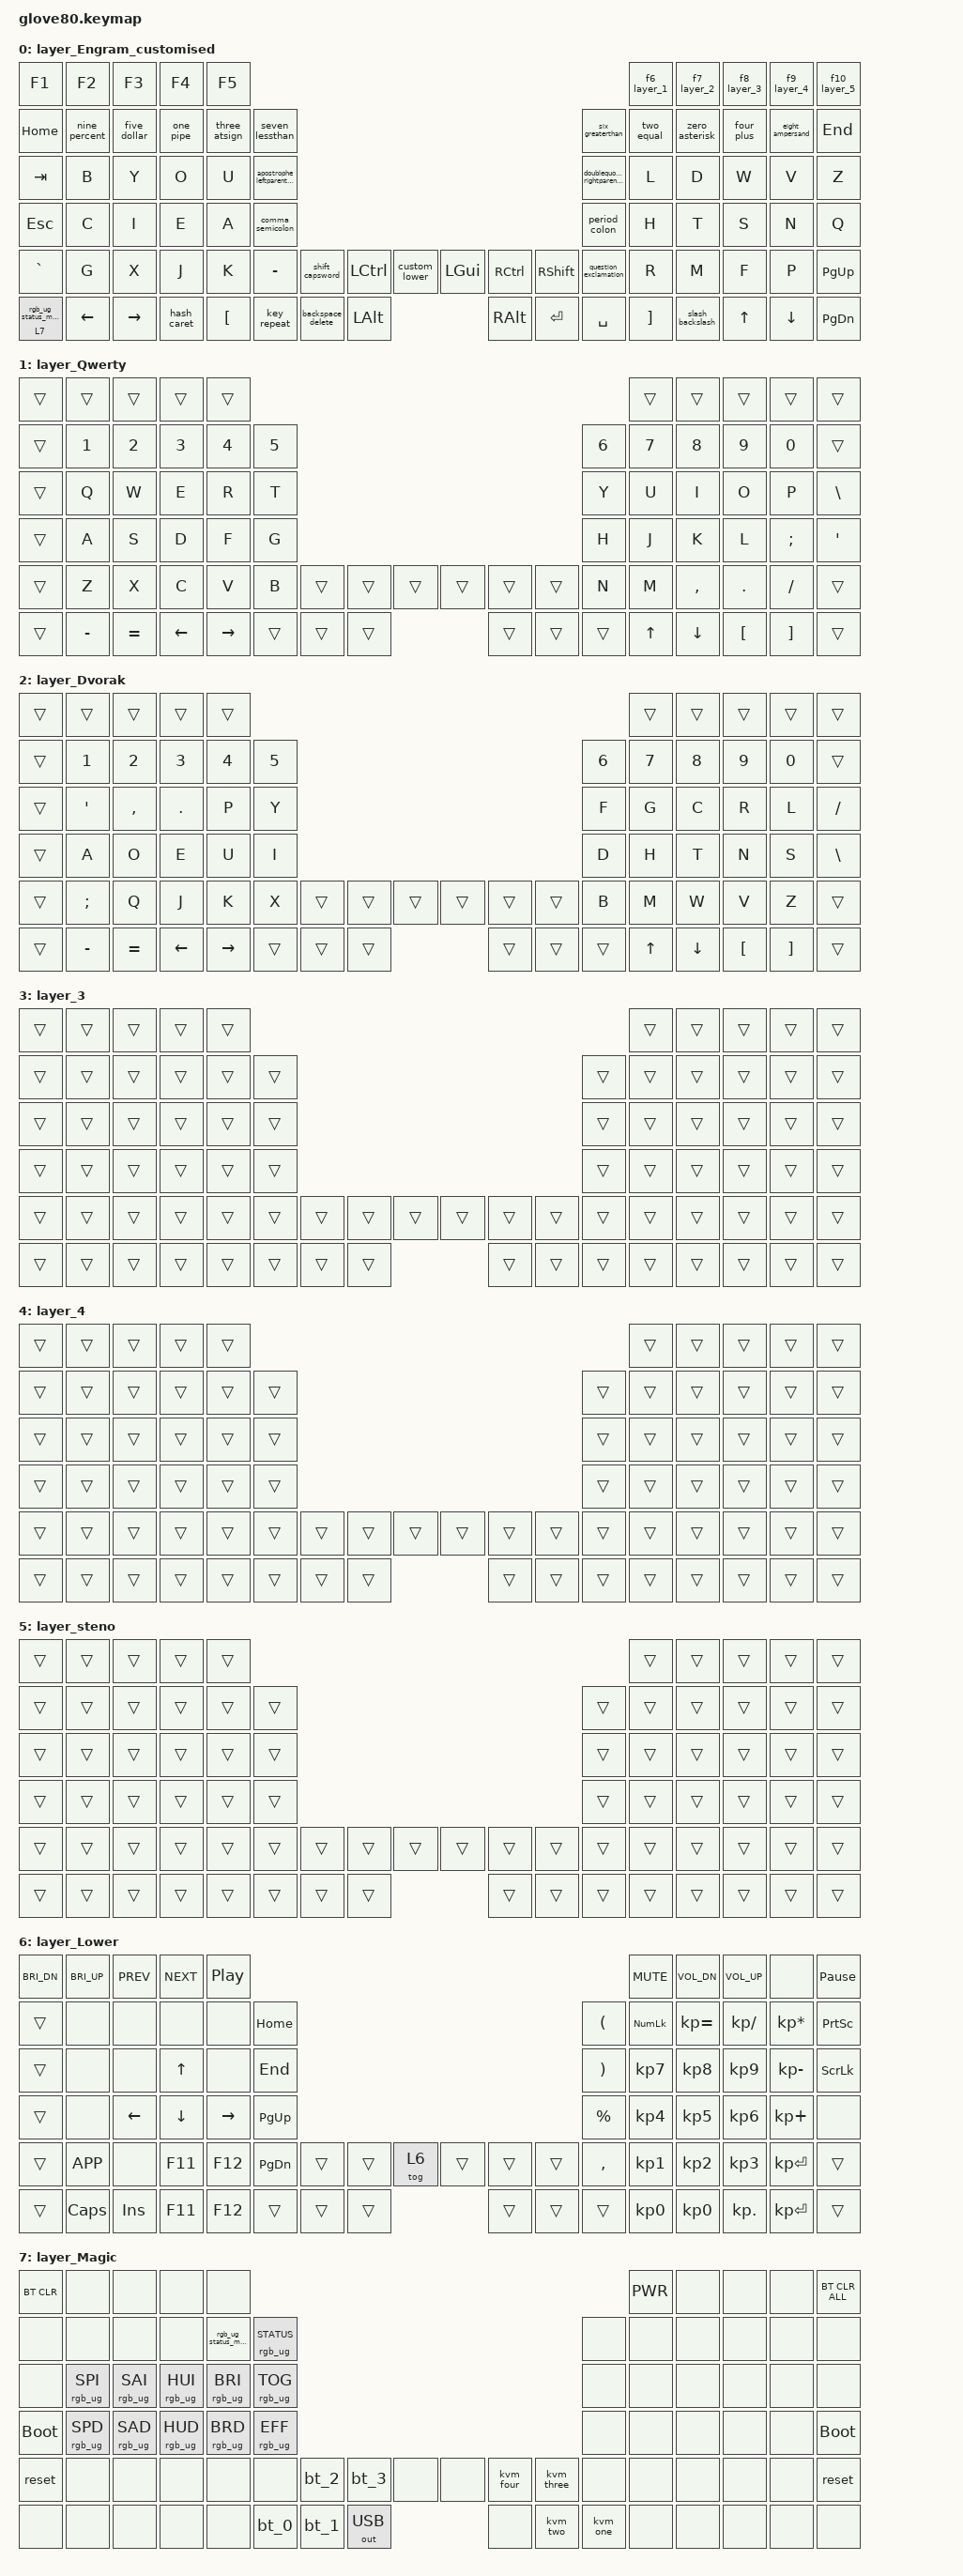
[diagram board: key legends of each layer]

/*
 * Copyright (c) 2020 The ZMK Contributors
 * Copyright (c) 2022 Innaworks Development Limited, trading as MoErgo
 *
 * SPDX-License-Identifier: MIT
 */


/* THIS FILE WAS GENERATED BY GLOVE80 LAYOUT EDITOR
 *
 * This file was generated automatically. You may or may not want to
 * edit it directly.
 */

#include <behaviors.dtsi>
/* Include all behaviour includes needed by system behaviors/macros */
#include <dt-bindings/zmk/outputs.h>

/* Include behaviour includes needed by key binds - automatically generated */
#include <dt-bindings/zmk/keys.h>
#include <dt-bindings/zmk/bt.h>
#include <dt-bindings/zmk/rgb.h>
#include <dt-bindings/zmk/outputs.h>

/* To deal with the situation where there is no Lower layer, to keep &lower happy */
#define LAYER_Lower 0

/* Automatically generated layer name #define */
#define LAYER_Engram_customised 0
#define LAYER_Qwerty 1
#define LAYER_Dvorak 2
#define LAYER_3 3
#define LAYER_4 4
#define LAYER_steno 5
#define LAYER_Lower 6
#define LAYER_Magic 7

/ {
    /* Glove80 system behavior & macros */
    behaviors {
        // For the "layer" key, it'd nice to be able to use it as either a shift or a toggle.
        // Configure it as a tap dance, so the first tap (or hold) is a &mo and the second tap is a &to
        lower: lower {
            compatible = "zmk,behavior-tap-dance";
            label = "LAYER_TAP_DANCE";
            #binding-cells = <0>;
            tapping-term-ms = <200>;
            bindings = <&mo LAYER_Lower>, <&to LAYER_Lower>;
        };
    };
};

/ {
    macros {
        rgb_ug_status_macro: rgb_ug_status_macro {
            label = "RGB_UG_STATUS";
            compatible = "zmk,behavior-macro";
            #binding-cells = <0>;
            bindings
                = <&rgb_ug RGB_STATUS>;
        };

        bt_0: bt_0 {
            label = "BT_0";
            compatible = "zmk,behavior-macro";
            #binding-cells = <0>;
            bindings
                = <&out OUT_BLE>,
                  <&bt BT_SEL 0>;
        };

        bt_1: bt_1 {
            label = "BT_1";
            compatible = "zmk,behavior-macro";
            #binding-cells = <0>;
            bindings
                = <&out OUT_BLE>,
                  <&bt BT_SEL 1>;
        };

        bt_2: bt_2 {
            label = "BT_2";
            compatible = "zmk,behavior-macro";
            #binding-cells = <0>;
            bindings
                = <&out OUT_BLE>,
                  <&bt BT_SEL 2>;
        };

        bt_3: bt_3 {
            label = "BT_3";
            compatible = "zmk,behavior-macro";
            #binding-cells = <0>;
            bindings
                = <&out OUT_BLE>,
                  <&bt BT_SEL 3>;
        };
    };
};

/ {
    magic: magic {
        compatible = "zmk,behavior-hold-tap";
        label = "MAGIC_HOLD_TAP";
        #binding-cells = <2>;
        flavor = "tap-preferred";
        tapping-term-ms = <200>;
        bindings = <&mo>, <&rgb_ug_status_macro>;
    };
};

    /* #define for key positions */
#define POS_LH_T1 52
#define POS_LH_T2 53
#define POS_LH_T3 54
#define POS_LH_T4 69
#define POS_LH_T5 70
#define POS_LH_T6 71
#define POS_LH_C1R2 15
#define POS_LH_C1R3 27
#define POS_LH_C1R4 39
#define POS_LH_C1R5 51
#define POS_LH_C2R1 4
#define POS_LH_C2R2 14
#define POS_LH_C2R3 26
#define POS_LH_C2R4 38
#define POS_LH_C2R5 50
#define POS_LH_C2R6 68
#define POS_LH_C3R1 3
#define POS_LH_C3R2 13
#define POS_LH_C3R3 25
#define POS_LH_C3R4 37
#define POS_LH_C3R5 49
#define POS_LH_C3R6 67
#define POS_LH_C4R1 2
#define POS_LH_C4R2 12
#define POS_LH_C4R3 24
#define POS_LH_C4R4 36
#define POS_LH_C4R5 48
#define POS_LH_C4R6 66
#define POS_LH_C5R1 1
#define POS_LH_C5R2 11
#define POS_LH_C5R3 23
#define POS_LH_C5R4 35
#define POS_LH_C5R5 47
#define POS_LH_C5R6 65
#define POS_LH_C6R1 0
#define POS_LH_C6R2 10
#define POS_LH_C6R3 22
#define POS_LH_C6R4 34
#define POS_LH_C6R5 46
#define POS_LH_C6R6 64
#define POS_RH_T1 57
#define POS_RH_T2 56
#define POS_RH_T3 55
#define POS_RH_T4 74
#define POS_RH_T5 73
#define POS_RH_T6 72
#define POS_RH_C1R2 16
#define POS_RH_C1R3 28
#define POS_RH_C1R4 40
#define POS_RH_C1R5 58
#define POS_RH_C2R1 5
#define POS_RH_C2R2 17
#define POS_RH_C2R3 29
#define POS_RH_C2R4 41
#define POS_RH_C2R5 59
#define POS_RH_C2R6 75
#define POS_RH_C3R1 6
#define POS_RH_C3R2 18
#define POS_RH_C3R3 30
#define POS_RH_C3R4 42
#define POS_RH_C3R5 60
#define POS_RH_C3R6 76
#define POS_RH_C4R1 7
#define POS_RH_C4R2 19
#define POS_RH_C4R3 31
#define POS_RH_C4R4 43
#define POS_RH_C4R5 61
#define POS_RH_C4R6 77
#define POS_RH_C5R1 8
#define POS_RH_C5R2 20
#define POS_RH_C5R3 32
#define POS_RH_C5R4 44
#define POS_RH_C5R5 62
#define POS_RH_C5R6 78
#define POS_RH_C6R1 9
#define POS_RH_C6R2 21
#define POS_RH_C6R3 33
#define POS_RH_C6R4 45
#define POS_RH_C6R5 63
#define POS_RH_C6R6 79

    /* Custom Defined Behaviors */
/ {
    #define QUICK_TAP_MS 0
#define TAPPING_TERM_MS 200
#define TAPPING_THUMB_TERM_MS 400
#define COMBO_TIMEOUT_MS 50
#define COMBO_TERM_FAST 14
#define COMBO_TERM_NORMAL 20
#define COMBO_TERM_SLOW 45
#define WAIT_MS 40
#define VERY_SLOW_WAIT_MS 300
#define TAP_MS 40
#define COMBO_LAYERS 0 1 2 3 4 6

#define COMBO(NAME, BINDINGS, KEYPOS, LAYERS, MS) \
  combo_##NAME { \
    bindings = <BINDINGS>; \
    key-positions = <KEYPOS>; \
    layers = <LAYERS>; \
    timeout-ms = <MS>; \
  };

combos {
    compatible = "zmk,combos";

    COMBO(cut, &kp LC(X), POS_LH_C4R4 POS_LH_C4R5, COMBO_LAYERS, COMBO_TERM_NORMAL)
    COMBO(copy, &kp LC(C), POS_LH_C3R4 POS_LH_C3R5, COMBO_LAYERS, COMBO_TERM_NORMAL)
    COMBO(paste, &kp LC(V), POS_LH_C2R4 POS_LH_C2R5, COMBO_LAYERS, COMBO_TERM_NORMAL)
    COMBO(undo, &kp LC(Z), POS_LH_C5R4 POS_LH_C5R5, COMBO_LAYERS, COMBO_TERM_NORMAL)
    COMBO(selectall, &kp LC(A), POS_LH_C5R3 POS_LH_C5R4, COMBO_LAYERS, COMBO_TERM_NORMAL)
    COMBO(capslock, &kp CAPS, POS_LH_T1 POS_RH_T1, COMBO_LAYERS, COMBO_TERM_SLOW)
    COMBO(home, &kp HOME, POS_LH_C4R6 POS_LH_C3R6, COMBO_LAYERS, COMBO_TERM_NORMAL)
    COMBO(pageup, &kp PAGE_UP, POS_LH_C3R6 POS_LH_C2R6, COMBO_LAYERS, COMBO_TERM_NORMAL)
    COMBO(space, &kp SPACE, POS_LH_T4 POS_LH_T5, COMBO_LAYERS, COMBO_TERM_NORMAL)
    COMBO(delete, &kp DELETE, POS_LH_T5 POS_LH_T6, COMBO_LAYERS, COMBO_TERM_NORMAL)
    COMBO(backspace, &kp BACKSPACE, POS_RH_T5 POS_RH_T4, COMBO_LAYERS, COMBO_TERM_NORMAL)
    COMBO(pagedown, &kp PAGE_DOWN, POS_RH_C2R6 POS_RH_C3R6, COMBO_LAYERS, COMBO_TERM_NORMAL)
    COMBO(end, &kp END, POS_RH_C3R6 POS_RH_C4R6, COMBO_LAYERS, COMBO_TERM_NORMAL)
    COMBO(printscreen, &kp PRINTSCREEN, POS_RH_C5R2 POS_RH_C5R3, COMBO_LAYERS, COMBO_TERM_NORMAL)
    COMBO(gmailmoveto, &gmailmoveto, POS_RH_C6R4 POS_RH_C6R5, COMBO_LAYERS, COMBO_TERM_NORMAL)
};

macros {
    kvm_one: kvm_one{
        label = "kvm_one";
        compatible = "zmk,behavior-macro";
        #binding-cells = <0>;
        wait-ms = <VERY_SLOW_WAIT_MS>;
        tap-ms = <TAP_MS>;
        bindings = <&kp RCTRL &kp RCTRL &kp N1>;
    };
    kvm_two: kvm_two{
        label = "kvm_two";
        compatible = "zmk,behavior-macro";
        #binding-cells = <0>;
        wait-ms = <VERY_SLOW_WAIT_MS>;
        tap-ms = <TAP_MS>;
        bindings = <&kp RCTRL &kp RCTRL &kp N2>;
    };
    kvm_three: kvm_three{
        label = "kvm_three";
        compatible = "zmk,behavior-macro";
        #binding-cells = <0>;
        wait-ms = <VERY_SLOW_WAIT_MS>;
        tap-ms = <TAP_MS>;
        bindings = <&kp RCTRL &kp RCTRL &kp N3>;
    };
    kvm_four: kvm_four{
        label = "kvm_four";
        compatible = "zmk,behavior-macro";
        #binding-cells = <0>;
        wait-ms = <VERY_SLOW_WAIT_MS>;
        tap-ms = <TAP_MS>;
        bindings = <&kp RCTRL &kp RCTRL &kp N4>;
    };
    gmailmoveto: gmailmoveto{
        label = "gmailmoveto";
        compatible = "zmk,behavior-macro";
        #binding-cells = <0>;
        wait-ms = <VERY_SLOW_WAIT_MS>;
        tap-ms = <TAP_MS>;
        bindings = <&kp V &kp S &kp ENTER>;
    };
    tog_ug_1: tog_ug_1 {
        label = "tog_ug_1";
        compatible = "zmk,behavior-macro";
        #binding-cells = <0>;
        wait-ms = <WAIT_MS>;
        tap-ms = <TAP_MS>;
        bindings = <&tog 1>, <&rgb_ug_status_macro>;
    };
    tog_ug_2: tog_ug_2 {
        label = "tog_ug_2";
        compatible = "zmk,behavior-macro";
        #binding-cells = <0>;
        wait-ms = <WAIT_MS>;
        tap-ms = <TAP_MS>;
        bindings = <&tog 2>, <&rgb_ug_status_macro>;
    };
    tog_ug_3: tog_ug_3 {
        label = "tog_ug_3";
        compatible = "zmk,behavior-macro";
        #binding-cells = <0>;
        wait-ms = <WAIT_MS>;
        tap-ms = <TAP_MS>;
        bindings = <&tog 3>, <&rgb_ug_status_macro>;
    };
    tog_ug_4: tog_ug_4 {
        label = "tog_ug_4";
        compatible = "zmk,behavior-macro";
        #binding-cells = <0>;
        wait-ms = <WAIT_MS>;
        tap-ms = <TAP_MS>;
        bindings = <&tog 4>, <&rgb_ug_status_macro>;
    };
    tog_ug_5: tog_ug_5 {
        label = "tog_ug_5";
        compatible = "zmk,behavior-macro";
        #binding-cells = <0>;
        wait-ms = <WAIT_MS>;
        tap-ms = <TAP_MS>;
        bindings = <&tog 5>, <&rgb_ug_status_macro>;
    };
};

behaviors {
    ht: hold_tap {
        compatible = "zmk,behavior-hold-tap";
        label = "HOLD_TAP";
        #binding-cells = <2>;
        flavor = "tap-preferred";
        tapping-term-ms = <TAPPING_TERM_MS>;
        quick-tap-ms = <QUICK_TAP_MS>;
        bindings = <&kp>, <&kp>;
    };
    shift_capsword: td_shift_capsword {
        compatible = "zmk,behavior-tap-dance";
        label = "SHIFT_CAPSWORD";
        #binding-cells = <0>;
        tapping-term-ms = <TAPPING_THUMB_TERM_MS>;
        bindings = <&kp LSHFT>, <&caps_word>;
    };
    f6_layer_1: td_f6_layer_1 {
        compatible = "zmk,behavior-tap-dance";
        label = "F6_LAYER_1";
        #binding-cells = <0>;
        tapping-term-ms = <TAPPING_TERM_MS>;
        bindings = <&kp F6>, <&tog_ug_1>;
    };
    f7_layer_2: td_f7_layer_2 {
        compatible = "zmk,behavior-tap-dance";
        label = "F7_LAYER_2";
        #binding-cells = <0>;
        tapping-term-ms = <TAPPING_TERM_MS>;
        bindings = <&kp F7>, <&tog_ug_2>;
    };
    f8_layer_3: td_f8_layer_3 {
        compatible = "zmk,behavior-tap-dance";
        label = "F8_LAYER_3";
        #binding-cells = <0>;
        tapping-term-ms = <TAPPING_TERM_MS>;
        bindings = <&kp F8>, <&tog_ug_3>;
    };
    f9_layer_4: td_f9_layer_4 {
        compatible = "zmk,behavior-tap-dance";
        label = "F9_LAYER_4";
        #binding-cells = <0>;
        tapping-term-ms = <TAPPING_TERM_MS>;
        bindings = <&kp F9>, <&tog_ug_4>;
    };
    f10_layer_5: td_f10_layer_5 {
        compatible = "zmk,behavior-tap-dance";
        label = "F10_LAYER_5";
        #binding-cells = <0>;
        tapping-term-ms = <TAPPING_TERM_MS>;
        bindings = <&kp F10>, <&tog_ug_5>;
    };
    custom_lower: tap_dance_1 {
        compatible = "zmk,behavior-tap-dance";
        label = "CUSTOM_LAYER_TAP_DANCE";
        #binding-cells = <0>;
        tapping-term-ms = <TAPPING_TERM_MS>;
        bindings = <&mo 6>, <&tog 6>;
    };
    apostrophe_leftparenthesis: apostrophe_leftparenthesis {
        compatible = "zmk,behavior-mod-morph";
        label = "apostrophe_leftparenthesis";
        #binding-cells = <0>;
        bindings = <&kp APOSTROPHE>, <&kp LEFT_PARENTHESIS>;
        mods = <(MOD_LSFT|MOD_RSFT)>;
    };
    doublequotes_rightparenthesis: doublequotes_rightparenthesis{
        compatible = "zmk,behavior-mod-morph";
        label = "doublequotes_rightparenthesis";
        #binding-cells = <0>;
        bindings = <&kp DOUBLE_QUOTES>, <&kp RIGHT_PARENTHESIS>;
        mods = <(MOD_LSFT|MOD_RSFT)>;
    };
    comma_semicolon: comma_semicolon {
        compatible = "zmk,behavior-mod-morph";
        label = "comma_semicolon";
        #binding-cells = <0>;
        bindings = <&kp COMMA>, <&kp SEMICOLON>;
        mods = <(MOD_LSFT|MOD_RSFT)>;
    };
    period_colon: period_colon {
        compatible = "zmk,behavior-mod-morph";
        label = "period_colon";
        #binding-cells = <0>;
        bindings = <&kp PERIOD>, <&kp COLON>;
        mods = <(MOD_LSFT|MOD_RSFT)>;
    };
    question_exclamation: question_exclamation {
        compatible = "zmk,behavior-mod-morph";
        label = "question_exclamation";
        #binding-cells = <0>;
        bindings = <&kp QUESTION>, <&kp EXCLAMATION>;
        mods = <(MOD_LSFT|MOD_RSFT)>;
    };
    one_pipe: one_pipe {
        compatible = "zmk,behavior-mod-morph";
        label = "one_pipe";
        #binding-cells = <0>;
        bindings = <&kp N1>, <&kp PIPE>;
        mods = <(MOD_LSFT|MOD_RSFT)>;
    };
    two_equal: two_equal {
        compatible = "zmk,behavior-mod-morph";
        label = "two_equal";
        #binding-cells = <0>;
        bindings = <&kp N2>, <&kp EQUAL>;
        mods = <(MOD_LSFT|MOD_RSFT)>;
    };
    three_atsign: three_atsign {
        compatible = "zmk,behavior-mod-morph";
        label = "three_atsign";
        #binding-cells = <0>;
        bindings = <&kp N3>, <&kp AT_SIGN>;
        mods = <(MOD_LSFT|MOD_RSFT)>;
    };
    four_plus: four_plus {
        compatible = "zmk,behavior-mod-morph";
        label = "four_plus";
        #binding-cells = <0>;
        bindings = <&kp N4>, <&kp PLUS>;
        mods = <(MOD_LSFT|MOD_RSFT)>;
    };
    five_dollar: five_dollar {
        compatible = "zmk,behavior-mod-morph";
        label = "five_dollar";
        #binding-cells = <0>;
        bindings = <&kp N5>, <&kp DOLLAR>;
        mods = <(MOD_LSFT|MOD_RSFT)>;
    };
    six_greaterthan: six_greaterthan {
        compatible = "zmk,behavior-mod-morph";
        label = "six_greaterthan";
        #binding-cells = <0>;
        bindings = <&kp N6>, <&kp GREATER_THAN>;
        mods = <(MOD_LSFT|MOD_RSFT)>;
    };
    seven_lessthan: seven_lessthan {
        compatible = "zmk,behavior-mod-morph";
        label = "seven_lessthan";
        #binding-cells = <0>;
        bindings = <&kp N7>, <&kp LESS_THAN>;
        mods = <(MOD_LSFT|MOD_RSFT)>;
    };
    eight_ampersand: eight_ampersand {
        compatible = "zmk,behavior-mod-morph";
        label = "eight_ampersand";
        #binding-cells = <0>;
        bindings = <&kp N8>, <&kp AMPERSAND>;
        mods = <(MOD_LSFT|MOD_RSFT)>;
    };
    nine_percent: nine_percent {
        compatible = "zmk,behavior-mod-morph";
        label = "nine_percent";
        #binding-cells = <0>;
        bindings = <&kp N9>, <&kp PERCENT>;
        mods = <(MOD_LSFT|MOD_RSFT)>;
    };
    zero_asterisk: zero_asterisk {
        compatible = "zmk,behavior-mod-morph";
        label = "zero_asterisk";
        #binding-cells = <0>;
        bindings = <&kp N0>, <&kp ASTERISK>;
        mods = <(MOD_LSFT|MOD_RSFT)>;
    };
    hash_caret: hash_caret {
        compatible = "zmk,behavior-mod-morph";
        label = "hash_caret";
        #binding-cells = <0>;
        bindings = <&kp HASH>, <&kp CARET>;
        mods = <(MOD_LSFT|MOD_RSFT)>;
    };
    slash_backslash: slash_backslash {
        compatible = "zmk,behavior-mod-morph";
        label = "slash_backslash";
        #binding-cells = <0>;
        bindings = <&kp SLASH>, <&kp BACKSLASH>;
        mods = <(MOD_LSFT|MOD_RSFT)>;
    };
    backspace_delete: backspace_delete {
        compatible = "zmk,behavior-mod-morph";
        label = "backspace_delete";
        #binding-cells = <0>;
        bindings = <&kp BACKSPACE>, <&kp LS(DELETE)>;
        mods = <(MOD_LSFT|MOD_RSFT)>;
    };
};

};

    /* Automatically generated keymap */
/ {
    keymap {
        compatible = "zmk,keymap";


        layer_Engram_customised {
            bindings = <
     &kp F1         &kp F2        &kp F3       &kp F4         &kp F5                                                                                                                                                  &f6_layer_1       &f7_layer_2  &f8_layer_3       &f9_layer_4  &f10_layer_5
   &kp HOME  &nine_percent  &five_dollar    &one_pipe  &three_atsign              &seven_lessthan                                                                                                   &six_greaterthan   &two_equal    &zero_asterisk   &four_plus  &eight_ampersand       &kp END
    &kp TAB          &kp B         &kp Y        &kp O          &kp U  &apostrophe_leftparenthesis                                                                                     &doublequotes_rightparenthesis        &kp L             &kp D        &kp W             &kp V         &kp Z
    &kp ESC          &kp C         &kp I        &kp E          &kp A             &comma_semicolon                                                                                                      &period_colon        &kp H             &kp T        &kp S             &kp N         &kp Q
  &kp GRAVE          &kp G         &kp X        &kp J          &kp K                    &kp MINUS  &shift_capsword          &kp LCTRL  &custom_lower  &kp LGUI  &kp RCTRL  &kp RSHFT           &question_exclamation        &kp R             &kp M        &kp F             &kp P     &kp PG_UP
 &magic 7 0       &kp LEFT     &kp RIGHT  &hash_caret       &kp LBKT                                   &key_repeat  &backspace_delete       &kp LALT  &kp RALT    &kp RET  &kp SPACE                                     &kp RBKT  &slash_backslash       &kp UP          &kp DOWN     &kp PG_DN
            >;
        };

        layer_Qwerty {
            bindings = <
 &trans     &trans     &trans    &trans     &trans                                                                  &trans     &trans    &trans    &trans    &trans
 &trans     &kp N1     &kp N2    &kp N3     &kp N4  &kp N5                                                  &kp N6  &kp N7     &kp N8    &kp N9    &kp N0    &trans
 &trans      &kp Q      &kp W     &kp E      &kp R   &kp T                                                   &kp Y   &kp U      &kp I     &kp O     &kp P  &kp BSLH
 &trans      &kp A      &kp S     &kp D      &kp F   &kp G                                                   &kp H   &kp J      &kp K     &kp L  &kp SEMI   &kp SQT
 &trans      &kp Z      &kp X     &kp C      &kp V   &kp B  &trans  &trans  &trans  &trans  &trans  &trans   &kp N   &kp M  &kp COMMA   &kp DOT  &kp FSLH    &trans
 &trans  &kp MINUS  &kp EQUAL  &kp LEFT  &kp RIGHT          &trans  &trans  &trans  &trans  &trans  &trans          &kp UP   &kp DOWN  &kp LBKT  &kp RBKT    &trans
            >;
        };

        layer_Dvorak {
            bindings = <
 &trans     &trans     &trans    &trans     &trans                                                                  &trans    &trans    &trans    &trans    &trans
 &trans     &kp N1     &kp N2    &kp N3     &kp N4  &kp N5                                                  &kp N6  &kp N7    &kp N8    &kp N9    &kp N0    &trans
 &trans    &kp SQT  &kp COMMA   &kp DOT      &kp P   &kp Y                                                   &kp F   &kp G     &kp C     &kp R     &kp L  &kp FSLH
 &trans      &kp A      &kp O     &kp E      &kp U   &kp I                                                   &kp D   &kp H     &kp T     &kp N     &kp S  &kp BSLH
 &trans   &kp SEMI      &kp Q     &kp J      &kp K   &kp X  &trans  &trans  &trans  &trans  &trans  &trans   &kp B   &kp M     &kp W     &kp V     &kp Z    &trans
 &trans  &kp MINUS  &kp EQUAL  &kp LEFT  &kp RIGHT          &trans  &trans  &trans  &trans  &trans  &trans          &kp UP  &kp DOWN  &kp LBKT  &kp RBKT    &trans
            >;
        };

        layer_3 {
            bindings = <
 &trans  &trans  &trans  &trans  &trans                                                                  &trans  &trans  &trans  &trans  &trans
 &trans  &trans  &trans  &trans  &trans  &trans                                                  &trans  &trans  &trans  &trans  &trans  &trans
 &trans  &trans  &trans  &trans  &trans  &trans                                                  &trans  &trans  &trans  &trans  &trans  &trans
 &trans  &trans  &trans  &trans  &trans  &trans                                                  &trans  &trans  &trans  &trans  &trans  &trans
 &trans  &trans  &trans  &trans  &trans  &trans  &trans  &trans  &trans  &trans  &trans  &trans  &trans  &trans  &trans  &trans  &trans  &trans
 &trans  &trans  &trans  &trans  &trans          &trans  &trans  &trans  &trans  &trans  &trans          &trans  &trans  &trans  &trans  &trans
            >;
        };

        layer_4 {
            bindings = <
 &trans  &trans  &trans  &trans  &trans                                                                  &trans  &trans  &trans  &trans  &trans
 &trans  &trans  &trans  &trans  &trans  &trans                                                  &trans  &trans  &trans  &trans  &trans  &trans
 &trans  &trans  &trans  &trans  &trans  &trans                                                  &trans  &trans  &trans  &trans  &trans  &trans
 &trans  &trans  &trans  &trans  &trans  &trans                                                  &trans  &trans  &trans  &trans  &trans  &trans
 &trans  &trans  &trans  &trans  &trans  &trans  &trans  &trans  &trans  &trans  &trans  &trans  &trans  &trans  &trans  &trans  &trans  &trans
 &trans  &trans  &trans  &trans  &trans          &trans  &trans  &trans  &trans  &trans  &trans          &trans  &trans  &trans  &trans  &trans
            >;
        };

        layer_steno {
            bindings = <
 &trans  &trans  &trans  &trans  &trans                                                                  &trans  &trans  &trans  &trans  &trans
 &trans  &trans  &trans  &trans  &trans  &trans                                                  &trans  &trans  &trans  &trans  &trans  &trans
 &trans  &trans  &trans  &trans  &trans  &trans                                                  &trans  &trans  &trans  &trans  &trans  &trans
 &trans  &trans  &trans  &trans  &trans  &trans                                                  &trans  &trans  &trans  &trans  &trans  &trans
 &trans  &trans  &trans  &trans  &trans  &trans  &trans  &trans  &trans  &trans  &trans  &trans  &trans  &trans  &trans  &trans  &trans  &trans
 &trans  &trans  &trans  &trans  &trans          &trans  &trans  &trans  &trans  &trans  &trans          &trans  &trans  &trans  &trans  &trans
            >;
        };

        layer_Lower {
            bindings = <
 &kp C_BRI_DN  &kp C_BRI_UP  &kp C_PREV  &kp C_NEXT   &kp C_PP                                                                        &kp C_MUTE  &kp C_VOL_DN  &kp C_VOL_UP            &none  &kp PAUSE_BREAK
       &trans         &none       &none       &none      &none   &kp HOME                                                   &kp LPAR  &kp KP_NUM  &kp KP_EQUAL  &kp KP_SLASH  &kp KP_MULTIPLY        &kp PSCRN
       &trans         &none       &none      &kp UP      &none    &kp END                                                   &kp RPAR   &kp KP_N7     &kp KP_N8     &kp KP_N9     &kp KP_MINUS         &kp SLCK
       &trans         &none    &kp LEFT    &kp DOWN  &kp RIGHT  &kp PG_UP                                                  &kp PRCNT   &kp KP_N4     &kp KP_N5     &kp KP_N6      &kp KP_PLUS            &none
       &trans     &kp K_APP       &none     &kp F11    &kp F12  &kp PG_DN  &trans  &trans  &tog 6  &trans  &trans  &trans  &kp COMMA   &kp KP_N1     &kp KP_N2     &kp KP_N3     &kp KP_ENTER           &trans
       &trans      &kp CAPS     &kp INS     &kp F11    &kp F12             &trans  &trans  &trans  &trans  &trans  &trans              &kp KP_N0     &kp KP_N0    &kp KP_DOT     &kp KP_ENTER           &trans
            >;
        };

        layer_Magic {
            bindings = <
  &bt BT_CLR            &none            &none            &none            &none                                                                                                &kp K_PWR   &none   &none   &none  &bt BT_CLR_ALL
       &none            &none            &none            &none  &rgb_ug_status_macro  &rgb_ug RGB_STATUS                                                                &none      &none   &none   &none   &none           &none
       &none  &rgb_ug RGB_SPI  &rgb_ug RGB_SAI  &rgb_ug RGB_HUI       &rgb_ug RGB_BRI     &rgb_ug RGB_TOG                                                                &none      &none   &none   &none   &none           &none
 &bootloader  &rgb_ug RGB_SPD  &rgb_ug RGB_SAD  &rgb_ug RGB_HUD       &rgb_ug RGB_BRD     &rgb_ug RGB_EFF                                                                &none      &none   &none   &none   &none     &bootloader
      &reset            &none            &none            &none                 &none               &none   &bt_2   &bt_3         &none   &none  &kvm_four  &kvm_three   &none      &none   &none   &none   &none          &reset
       &none            &none            &none            &none                 &none                       &bt_0   &bt_1  &out OUT_USB   &none   &kvm_two    &kvm_one              &none   &none   &none   &none           &none
            >;
        };

    };
};
